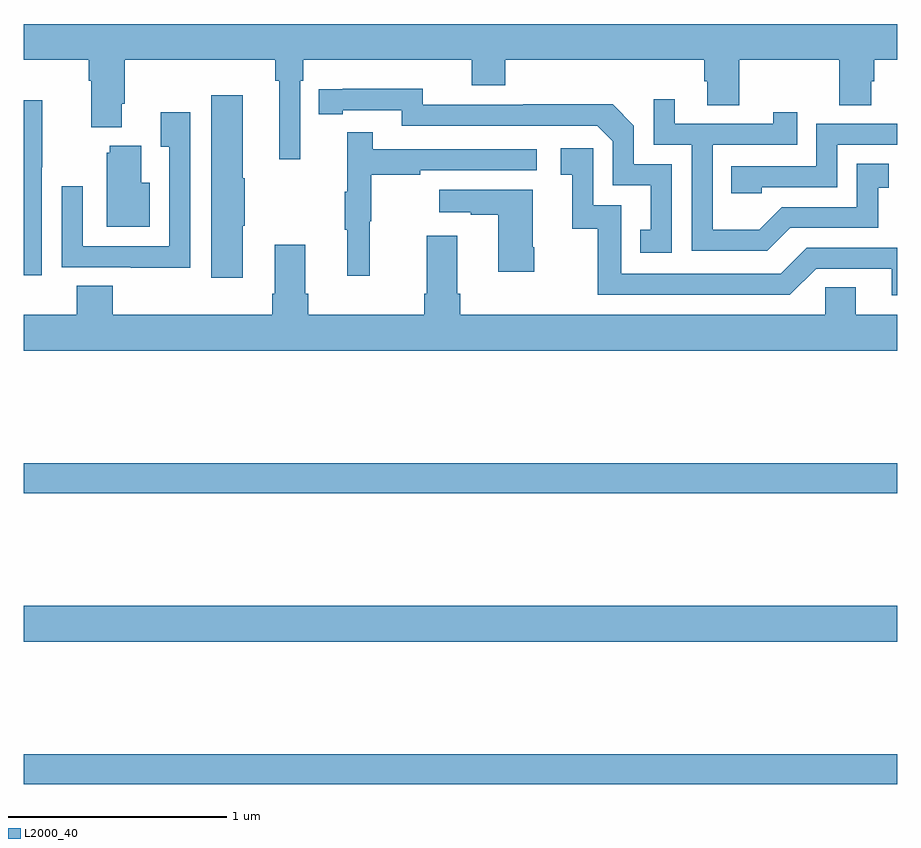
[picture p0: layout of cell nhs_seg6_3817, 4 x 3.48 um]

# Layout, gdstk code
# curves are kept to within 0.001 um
import gdstk
lib = gdstk.Library(unit=1e-6, precision=1e-09)
def R(c, l, rs):  # rectangles x0, y0, x1, y1
    for r in rs: c.add(gdstk.rectangle(r[:2], r[2:], *l))
def P(c, l, *ps):  # polygons
    for p in ps: c.add(gdstk.Polygon(p, *l))
L2000_40 = (2000, 40)

nhs_seg6_3817 = lib.new_cell('nhs_seg6_3817')
R(nhs_seg6_3817, L2000_40, [(335,987.976,339,988.112), (335,988.628,339,988.792), (335,989.308,339,989.444)])
P(nhs_seg6_3817, L2000_40, [(336.267,991.196),(336.281,991.196),(336.281,991.292),(337.052,991.292),(337.052,991.175),(337.205,991.175),(337.205,991.292),(338.117,991.292),(338.117,991.194),(338.129,991.194),(338.129,991.084),(338.277,991.084),(338.277,991.292),(338.734,991.292),(338.734,991.084),(338.881,991.084),(338.881,991.194),(338.894,991.194),(338.894,991.292),(339,991.292),(339,991.456),(335,991.456),(335,991.292),(335.297,991.292),(335.297,991.196),(335.309,991.196),(335.309,990.983),(335.449,990.983),(335.449,991.09),(335.462,991.09),(335.462,991.292),(336.151,991.292),(336.151,991.196),(336.17,991.196),(336.17,990.837),(336.267,990.837)],
  [(337.968,990.813),(337.794,990.813),(337.794,990.99),(337.696,991.088),(337.288,991.088),(337.288,991.086),(336.828,991.086),(336.828,991.159),(336.352,991.158),(336.352,991.042),(336.46,991.042),(336.46,991.062),(336.732,991.062),(336.732,990.99),(337.626,990.99),(337.698,990.918),(337.698,990.717),(337.871,990.717),(337.871,990.513),(337.822,990.513),(337.822,990.408),(337.968,990.408)],
  [(336.004,990.532),(336.012,990.532),(336.012,990.749),(336.004,990.749),(336.004,991.129),(335.858,991.129),(335.858,990.294),(336.004,990.294)],
  [(338.509,990.522),(338.913,990.522),(338.913,990.707),(338.962,990.707),(338.962,990.817),(338.814,990.817),(338.814,990.618),(338.472,990.618),(338.368,990.514),(338.154,990.514),(338.154,990.903),(338.543,990.903),(338.543,991.051),(338.432,991.051),(338.432,990.999),(337.981,990.999),(337.981,991.111),(337.884,991.111),(337.884,990.903),(338.058,990.903),(338.058,990.417),(338.404,990.417)],
  [(335.082,990.799),(335.085,990.799),(335.085,991.106),(335,991.106),(335,990.306),(335.082,990.306)],
  [(335.763,991.051),(335.627,991.051),(335.627,990.895),(335.667,990.895),(335.667,990.438),(335.271,990.438),(335.271,990.712),(335.175,990.712),(335.175,990.342),(335.491,990.342),(335.491,990.341),(335.763,990.341)],
  [(338.379,990.708),(338.724,990.708),(338.724,990.903),(339,990.903),(339,990.999),(338.628,990.999),(338.628,990.804),(338.239,990.804),(338.239,990.681),(338.379,990.681)],
  [(336.584,990.552),(336.592,990.552),(336.592,990.766),(336.815,990.766),(336.815,990.786),(337.348,990.786),(337.348,990.882),(336.599,990.882),(336.599,990.961),(336.482,990.961),(336.482,990.689),(336.471,990.689),(336.471,990.515),(336.482,990.515),(336.482,990.303),(336.584,990.303)],
  [(335.578,990.73),(335.539,990.73),(335.539,990.898),(335.393,990.898),(335.393,990.867),(335.381,990.867),(335.381,990.527),(335.578,990.527)],
  [(339,990.432),(338.586,990.432),(338.466,990.312),(337.737,990.312),(337.737,990.627),(337.608,990.627),(337.608,990.886),(337.458,990.886),(337.458,990.765),(337.511,990.765),(337.511,990.519),(337.629,990.519),(337.629,990.216),(338.508,990.216),(338.628,990.336),(338.975,990.336),(338.975,990.213),(339,990.213)],
  [(337.338,990.433),(337.33,990.433),(337.33,990.697),(336.903,990.697),(336.903,990.593),(337.046,990.593),(337.046,990.583),(337.172,990.583),(337.172,990.321),(337.338,990.321)],
  [(339,990.124),(338.809,990.124),(338.809,990.251),(338.67,990.251),(338.67,990.124),(336.998,990.124),(336.998,990.22),(336.985,990.22),(336.985,990.487),(336.845,990.487),(336.845,990.22),(336.833,990.22),(336.833,990.124),(336.302,990.124),(336.302,990.22),(336.289,990.22),(336.289,990.445),(336.149,990.445),(336.149,990.22),(336.137,990.22),(336.137,990.124),(335.408,990.124),(335.408,990.257),(335.243,990.257),(335.243,990.124),(335,990.124),(335,989.96),(339,989.96)])

lib.write_gds('nhs_seg6_3817.gds')
